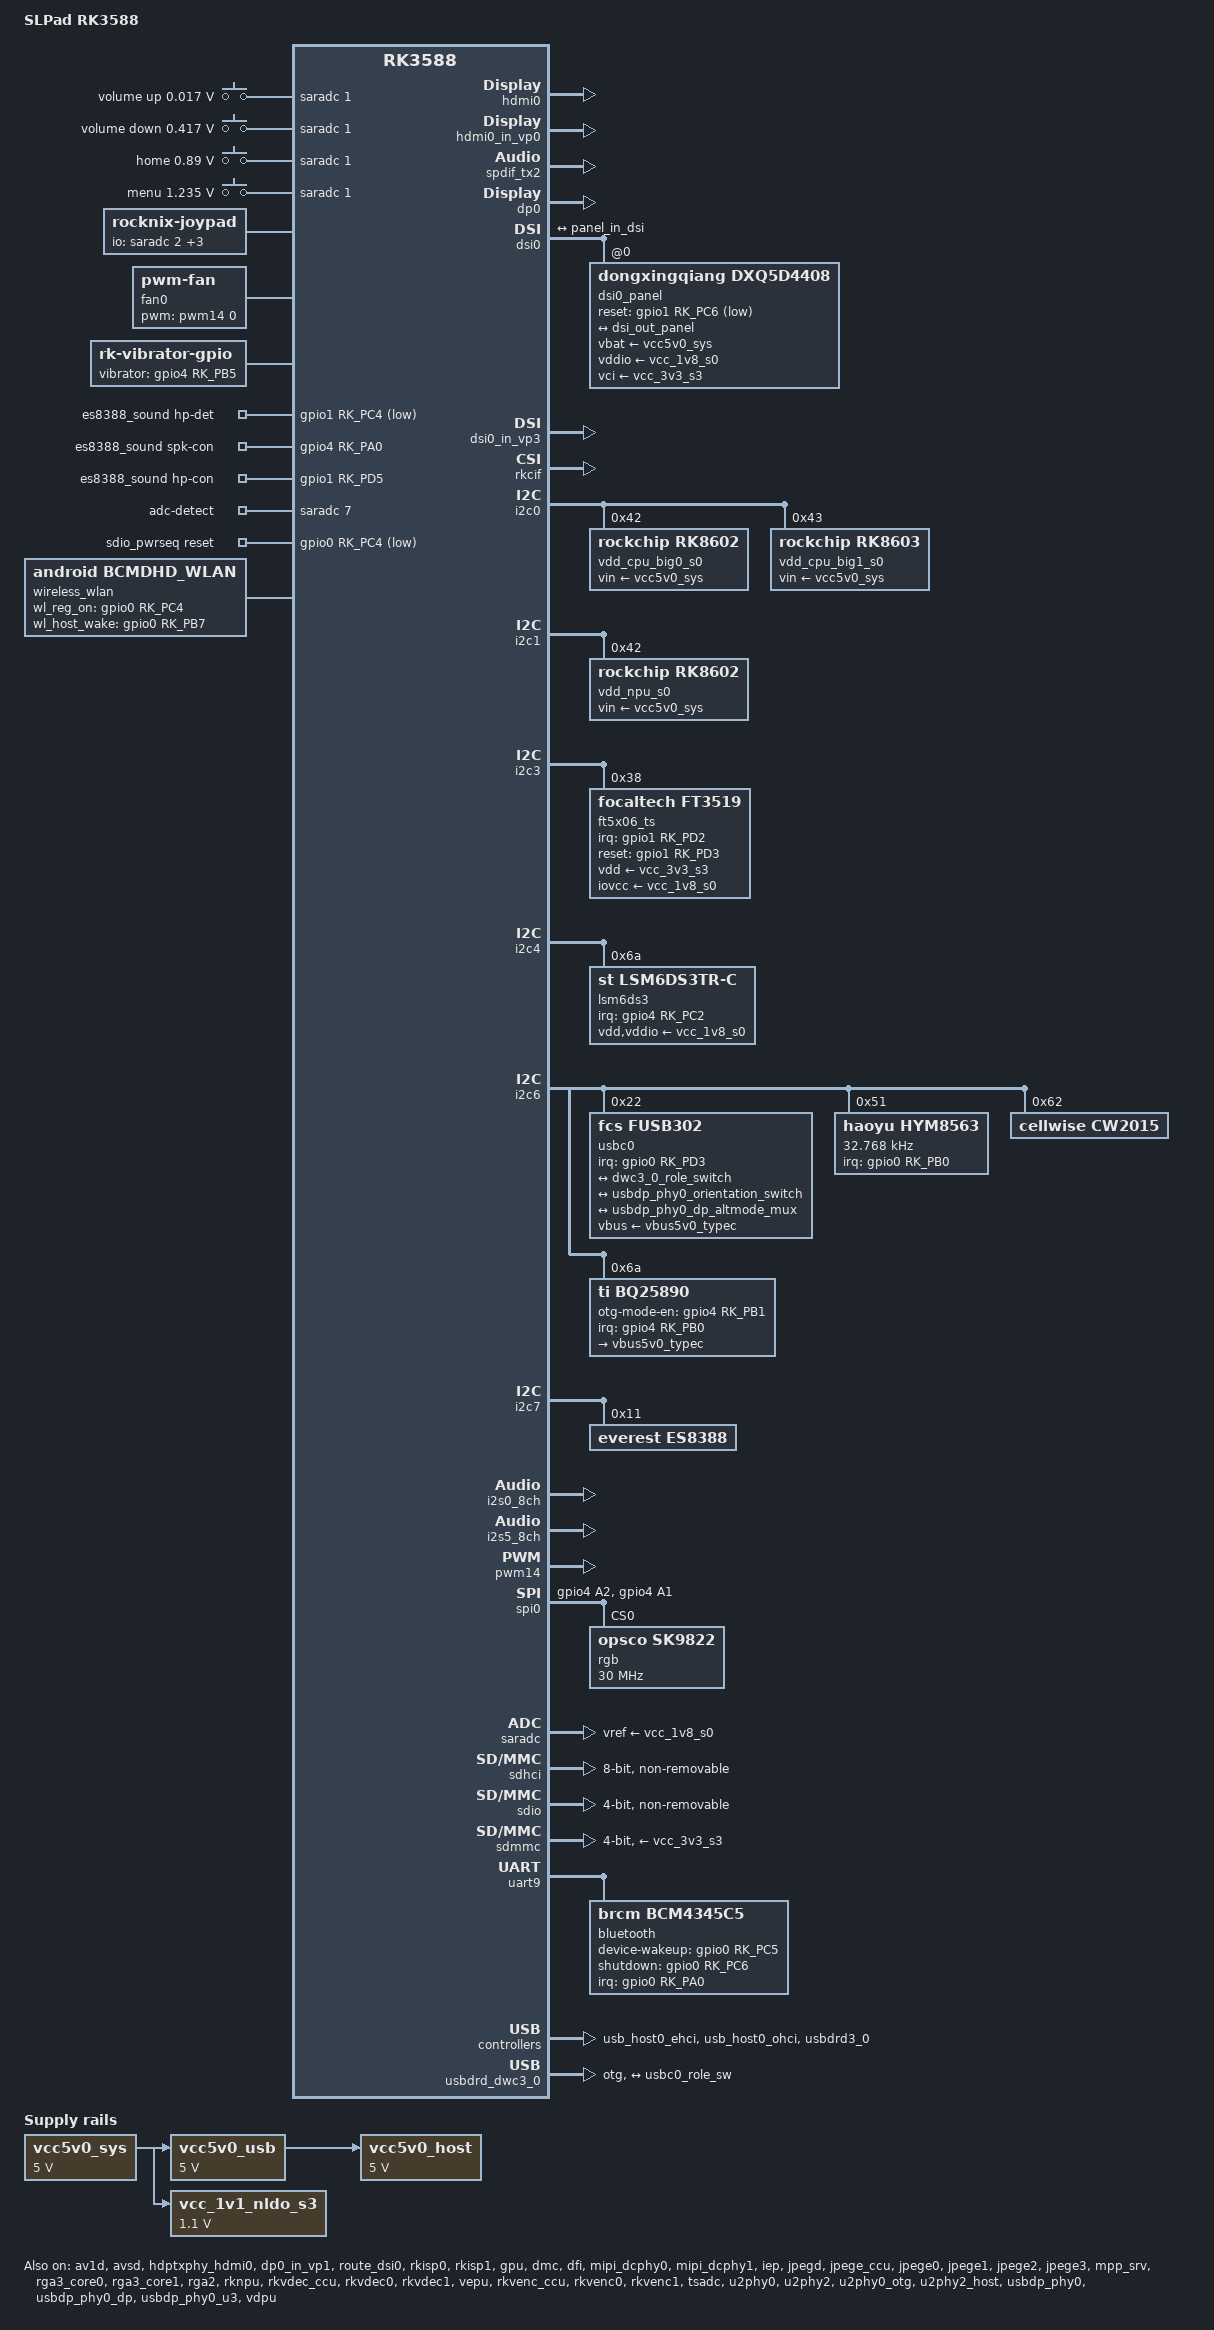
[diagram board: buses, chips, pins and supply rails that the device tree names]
// SPDX-License-Identifier: (GPL-2.0+ OR MIT)
/*
* Copyright (c) 2021 Rockchip Electronics Co., Ltd.
* Copyright (c) 2024-present ROCKNIX (https://github.com/ROCKNIX)
*
*/

/dts-v1/;

#include <dt-bindings/usb/pd.h>
#include <dt-bindings/gpio/gpio.h>
#include <dt-bindings/pwm/pwm.h>
#include <dt-bindings/pinctrl/rockchip.h>
#include <dt-bindings/input/rk-input.h>
#include <dt-bindings/display/drm_mipi_dsi.h>
#include <dt-bindings/display/rockchip_vop.h>
#include <dt-bindings/sensor-dev.h>
#include "rk3588.dtsi"
#include "rk3588-linux.dtsi"
#include "rk3588-rk806-single.dtsi"

/ {
	model = "SLPad RK3588";
	compatible = "slpad,switch", "rockchip,rk3588";
	
	/delete-node/ chosen;
	
	adc_keys: adc-keys {
		compatible = "adc-keys";
		io-channels = <&saradc 1>;
		io-channel-names = "buttons";
		keyup-threshold-microvolt = <1800000>;
		poll-interval = <100>;
		
		vol-up-key {
			label = "volume up";
			linux,code = <KEY_VOLUMEUP>;
			press-threshold-microvolt = <17000>;
		};
		
		vol-down-key {
			label = "volume down";
			linux,code = <KEY_VOLUMEDOWN>;
			press-threshold-microvolt = <417000>;
		};
		
		home-key {
			label = "home";
			linux,code = <KEY_HOMEPAGE>;
			press-threshold-microvolt = <890000>;
		};
		
		menu-key {
			label = "menu";
			linux,code = <KEY_APPSELECT>;
			press-threshold-microvolt = <1235000>;
		};
	};
	
	charge-animation {
		compatible = "rockchip,uboot-charge";
		rockchip,uboot-charge-on = <1>;
		rockchip,android-charge-on = <0>;
		rockchip,uboot-low-power-voltage = <3300>;
		rockchip,screen-on-voltage = <3400>;
		rockchip,uboot-exit-charge-level = <2>;
		rockchip,uboot-exit-charge-auto = <1>;
		rockchip,system-suspend = <1>;
		regulator-on-in-mem = <&vdd_log_s0>, <&vcc_2v0_pldo_s3>,
			<&vdd2_ddr_s3>, <&vcc_1v8_s3>, <&avcc_1v8_s0>,
			<&vdd_0v75_s3>, <&pldo6_s3>, <&vcc_3v3_s3>;

		regulator-off-in-mem = <&vdd_gpu_s0>, <&vdd_npu_s0>,
			<&vdd_vdenc_s0>, <&vdd_gpu_mem_s0>, <&vdd_npu_mem_s0>,
			<&vdd_vdenc_mem_s0>, <&vcc_1v8_s0>, <&vcc_3v3_s0>,
			<&vccio_sd_s0>, <&avdd_0v75_s0>, <&vdd_0v85_s0>,
			<&vdd_cpu_big1_s0>, <&vdd_cpu_big0_s0>, <&vdd_cpu_lit_s0>,
			<&vdd_cpu_big1_mem_s0>, <&vdd_cpu_big0_mem_s0>, <&vdd_cpu_lit_mem_s0>,
			<&vddq_ddr_s0>, <&vdd_ddr_s0>, <&vdd_ddr_pll_s0>,
			<&avdd_1v2_s0>, <&vdd_0v75_s0>;
		status = "okay";
	};
	
	joypad: slpad-joypad {
		compatible = "rocknix-joypad";
		poll-interval = <10>;
		status = "okay";
		
		joypad-name = "Microsoft X-Box 360 pad";
		joypad-vendor = <0x045e>;
		joypad-product = <0x028e>;
		joypad-revision = <0x0503>;
		
		/* Analog sticks */
		io-channels = <&saradc 2>, <&saradc 3>, <&saradc 4>, <&saradc 5>;
		io-channel-names = "key-X", "key-Y", "key-RX", "key-RY";
		button-adc-scale = <4>;
		button-adc-deadzone = <150>;
		button-adc-fuzz = <32>;
		button-adc-flat = <32>;
		abs_x-p-tuning = <350>;
		abs_x-n-tuning = <350>;
		abs_y-p-tuning = <350>;
		abs_y-n-tuning = <350>;
		abs_rx-p-tuning = <350>;
		abs_rx-n-tuning = <350>;
		abs_ry-p-tuning = <350>;
		abs_ry-n-tuning = <350>;
		invert-absx;
		invert-absy;
		
		/* gpio pincontrol setup */
		pinctrl-names = "default";
		pinctrl-0 = <&btn_pins>;
		
		/* gpio button auto repeat set value : default disable */
		/*
		autorepeat;
		*/
		
		/*
		*** SLPad switch layout ***
		|-------------------------------------------------------|
		| sw15(b4) sw21(b6)                   sw20(b7) sw16(b5) |
		|-------------------------------------------------------|
		|        sw19(b12)|-------------------| sw22(b13)       |
		|                 |                   |                 |
		|     sw1(b8)     |                   |     sw8(b2)     |
		|sw3(b10) sw4(b11)|   OLED Display    | sw7(b3) sw5(b1) |
		|     sw2(b9)     |                   |     sw6(b0)     |
		|    sw11(b14)    |                   |    sw12(b15)    |
		|  menu(sys)      |-------------------|      home(sys)  |
		|                                                       |
		|-------------------------------------------------------|
		*/
		
		sw1 {
			gpios = <&gpio3 RK_PB0 GPIO_ACTIVE_LOW>;
			label = "GPIO DPAD-UP";
			linux,code = <ABS_HAT0Y>;
			linux,input-type = <EV_ABS>;
			linux,input-value = <0xffffffff>; /* -1 */
		};
		sw2 {
			gpios = <&gpio3 RK_PB1 GPIO_ACTIVE_LOW>;
			label = "GPIO DPAD-DOWN";
			linux,code = <ABS_HAT0Y>;
			linux,input-type = <EV_ABS>;
			linux,input-value= <1>;
		};
		sw3 {
			gpios = <&gpio3 RK_PB2 GPIO_ACTIVE_LOW>;
			label = "GPIO DPAD-LEFT";
			linux,code = <ABS_HAT0X>;
			linux,input-type = <EV_ABS>;
			linux,input-value = <0xffffffff>; /* -1 */
		};
		sw4 {
			gpios = <&gpio3 RK_PB3 GPIO_ACTIVE_LOW>;
			label = "GPIO DPAD-RIGHT";
			linux,code = <ABS_HAT0X>;
			linux,input-type = <EV_ABS>;
			linux,input-value= <1>;
		};
		sw5 {
			gpios = <&gpio3 RK_PA1 GPIO_ACTIVE_LOW>;
			label = "GPIO KEY BTN-A";
			linux,code = <BTN_SOUTH>;
		};
		sw6 {
			gpios = <&gpio3 RK_PA0 GPIO_ACTIVE_LOW>;
			label = "GPIO BTN-B";
			linux,code = <BTN_EAST>;
		};
		sw7 {
			gpios = <&gpio3 RK_PA2 GPIO_ACTIVE_LOW>;
			label = "GPIO BTN-Y";
			linux,code = <BTN_WEST>;
		};
		sw8 {
			gpios = <&gpio3 RK_PA3 GPIO_ACTIVE_LOW>;
			label = "GPIO BTN-X";
			linux,code = <BTN_NORTH>;
		};
		sw11 {
			gpios = <&gpio3 RK_PA6 GPIO_ACTIVE_HIGH>;
			label = "GPIO BTN-THUMBR";
			linux,code = <BTN_THUMBR>;
		};
		sw12 {
			gpios = <&gpio3 RK_PB6 GPIO_ACTIVE_HIGH>;
			label = "GPIO BTN-THUMBL";
			linux,code = <BTN_THUMBL>;
		};
		sw15 {
			gpios = <&gpio3 RK_PB4 GPIO_ACTIVE_LOW>;
			label = "GPIO BTN-L";
			linux,code = <BTN_TL>;
		};
		sw16 {
			gpios = <&gpio3 RK_PA4 GPIO_ACTIVE_LOW>;
			label = "GPIO BTN-R";
			linux,code = <BTN_TR>;
		};
		sw19 {
			gpios = <&gpio3 RK_PB7 GPIO_ACTIVE_LOW>;
			label = "GPIO BTN-SELECT";
			linux,code = <BTN_SELECT>;
		};
		sw20 {
			gpios = <&gpio3 RK_PA5 GPIO_ACTIVE_LOW>;
			label = "GPIO BTN-ZR";
			linux,code = <ABS_RZ>;
			linux,input-type = <EV_ABS>;
			linux,input-value= <255>;
		};
		sw21 {
			gpios = <&gpio3 RK_PB5 GPIO_ACTIVE_LOW>;
			label = "GPIO BTN-ZL";
			linux,code = <ABS_Z>;
			linux,input-type = <EV_ABS>;
			linux,input-value= <255>;
		};
		sw22 {
			gpios = <&gpio3 RK_PA7 GPIO_ACTIVE_LOW>;
			label = "GPIO BTN-START";
			linux,code = <BTN_START>;
		};
	};
	
	fan0: pwm-fan {
		compatible = "pwm-fan";
		#cooling-cells = <2>;
		cooling-levels = <15 55 72 94 117 139 162 184 207 229 255>;
		rockchip,temp-trips = <
		30000	1
		45000	2
		50000	3
		65000	4
		70000	5
		>;
		pwms = <&pwm14 0 10000 0>;
	};
	
	vibrator {
		compatible = "rk-vibrator-gpio";
		vibrator-gpio = <&gpio4 RK_PB5 GPIO_ACTIVE_HIGH>;
		status = "okay";
	};
	
	hdmi0_sound: hdmi0-sound {
		status = "okay";
		compatible = "rockchip,hdmi";
		rockchip,mclk-fs = <128>;
		rockchip,card-name = "rockchip-hdmi0";
		rockchip,cpu = <&i2s5_8ch>;
		rockchip,codec = <&hdmi0>;
		rockchip,jack-det;
	};
	
	dp0_sound: dp0-sound {
		status = "okay";
		compatible = "rockchip,hdmi";
		rockchip,card-name= "rockchip-dp0";
		rockchip,mclk-fs = <512>;
		rockchip,cpu = <&spdif_tx2>;
		rockchip,codec = <&dp0 1>;
		rockchip,jack-det;
	};
	
	es8388_sound: es8388-sound {
		status = "okay";
		compatible = "rockchip,multicodecs-card","everest,es8388";
		rockchip,card-name = "rockchip,es8388-codec";
		hp-det-gpio = <&gpio1 RK_PC4 GPIO_ACTIVE_LOW>;
		io-channels = <&saradc 7>;
		io-channel-names = "adc-detect";
		keyup-threshold-microvolt = <1800000>;
		poll-interval = <100>;
		spk-con-gpio = <&gpio4 RK_PA0 GPIO_ACTIVE_HIGH>;
		hp-con-gpio = <&gpio1 RK_PD5 GPIO_ACTIVE_HIGH>;
		rockchip,format = "i2s";
		rockchip,mclk-fs = <256>;
		rockchip,cpu = <&i2s0_8ch>;
		rockchip,codec = <&es8388>;
		rockchip,aw8733-mode = <3>;
		
		rockchip,audio-routing =
		"Headphone", "LOUT1",
		"Headphone", "ROUT1",
		"Speaker", "LOUT2",
		"Speaker", "ROUT2",
		"Headphone", "Headphone Power",
		"Headphone", "Headphone Power",
		"Speaker", "Speaker Power",
		"Speaker", "Speaker Power",
		"LINPUT1", "Main Mic",
		"LINPUT2", "Main Mic",
		"RINPUT1", "Headset Mic",
		"RINPUT2", "Headset Mic";
		
		pinctrl-names = "default";
		pinctrl-0 = <&hp_det>;
		play-pause-key {
			label = "playpause";
			linux,code = <KEY_PLAYPAUSE>;
			press-threshold-microvolt = <2000>;
		};
	};
	
	
	sdio_pwrseq: sdio-pwrseq {
		compatible = "mmc-pwrseq-simple";
		clocks = <&hym8563>;
		clock-names = "ext_clock";
		pinctrl-names = "default";
		pinctrl-0 = <&wifi_enable_h>;
		post-power-on-delay-ms = <200>;
		reset-gpios = <&gpio0 RK_PC4 GPIO_ACTIVE_LOW>;
	};
	
	
	vcc5v0_sys: vcc5v0-sys {
		compatible = "regulator-fixed";
		regulator-name = "vcc5v0_sys";
		regulator-always-on;
		regulator-boot-on;
		regulator-min-microvolt = <5000000>;
		regulator-max-microvolt = <5000000>;
	};
	
	vcc5v0_usb: vcc5v0-usb {
		compatible = "regulator-fixed";
		regulator-name = "vcc5v0_usb";
		regulator-always-on;
		regulator-boot-on;
		regulator-min-microvolt = <5000000>;
		regulator-max-microvolt = <5000000>;
		enable-active-high;
		vin-supply = <&vcc5v0_sys>;
	};
	
	vcc_1v1_nldo_s3: vcc-1v1-nldo-s3 {
		compatible = "regulator-fixed";
		regulator-name = "vcc_1v1_nldo_s3";
		regulator-always-on;
		regulator-boot-on;
		regulator-min-microvolt = <1100000>;
		regulator-max-microvolt = <1100000>;
		vin-supply = <&vcc5v0_sys>;
	};
	
	vcc5v0_host: vcc5v0-host {
		compatible = "regulator-fixed";
		regulator-name = "vcc5v0_host";
		regulator-boot-on;
		regulator-always-on;
		regulator-min-microvolt = <5000000>;
		regulator-max-microvolt = <5000000>;
		enable-active-high;
		vin-supply = <&vcc5v0_usb>;
	};

	// vbus5v0_typec: vcc5v0-typec-regulator {
	// 	compatible = "regulator-fixed";
	// 	regulator-name = "vcc5v0_typec";
	// 	regulator-boot-on;
	// 	regulator-always-on;
	// 	regulator-min-microvolt = <5000000>;
	// 	regulator-max-microvolt = <5000000>;
	// 	enable-active-high;
	// 	gpio = <&gpio4 RK_PB1 GPIO_ACTIVE_HIGH>;
	// 	pinctrl-names = "default";
	// 	pinctrl-0 = <&vcc5v0_otg_en>;
	// 	vin-supply = <&vcc5v0_sys>;
	// };

	wireless_wlan: wireless-wlan {
		compatible = "android,bcmdhd_wlan";
		pinctrl-names = "default";
		pinctrl-0 = <&wifi_host_wake_irq>, <&wifi_poweren_gpio>;
		gpio_wl_reg_on = <&gpio0 RK_PC4 GPIO_ACTIVE_HIGH>;
		gpio_wl_host_wake = <&gpio0 RK_PB7 GPIO_ACTIVE_HIGH>;
		status = "okay";
	};
};

&av1d {
	status = "okay";
};

&av1d_mmu {
	status = "okay";
};

&combphy0_ps {
	status = "disabled";
};

&avsd {
	status = "okay";
};

&cpu_l0 {
	cpu-supply = <&vdd_cpu_lit_s0>;
	mem-supply = <&vdd_cpu_lit_mem_s0>;
};

&cpu_b0 {
	cpu-supply = <&vdd_cpu_big0_s0>;
	mem-supply = <&vdd_cpu_big0_mem_s0>;
};

&cpu_b2 {
	cpu-supply = <&vdd_cpu_big1_s0>;
	mem-supply = <&vdd_cpu_big1_mem_s0>;
};

&hdmi0 {
	status = "okay";
};

&hdmi0_in_vp0 {
	status = "okay";
};

&hdmi0_sound {
	status = "okay";
};

&hdptxphy_hdmi0 {
	status = "okay";
};

&route_hdmi0 {
	status = "disabled";
	connect = <&vp0_out_hdmi0>;
};

&spdif_tx2{
	status = "okay";
};

&dp0_sound{
	status = "okay";
};

&dp0 {
	status = "okay";
};

&dp0_in_vp1 {
	status = "okay";
};

&dsi0 {
	status = "okay";
	dsi0_panel: panel@0 {
		status = "okay";
		compatible = "dongxingqiang,dxq5d4408";
		reg = <0>;
		width-mm = <68>;
		height-mm = <121>;
		rotation = <90>;

		ports {
			#address-cells = <1>;
			#size-cells = <0>;
			
			port@0 {
				reg = <0>;
				panel_in_dsi: endpoint {
					remote-endpoint = <&dsi_out_panel>;
				};
			};
		};
	};
	
	ports {
		#address-cells = <1>;
		#size-cells = <0>;
		
		port@1 {
			reg = <1>;
			dsi_out_panel: endpoint {
				remote-endpoint = <&panel_in_dsi>;
			};
		};
	};
	
};

&dsi0_in_vp3 {
	status = "okay";
};

&route_dsi0 {
	status = "okay";
};

&dsi0_panel {
	vbat-supply = <&vcc5v0_sys>;
	vddio-supply = <&vcc_1v8_s0>;
	vci-supply = <&vcc_3v3_s3>;
	reset-gpios = <&gpio1 RK_PC6 GPIO_ACTIVE_LOW>;
	pinctrl-names = "default";
	pinctrl-0 = <&lcd_rst_gpio>;
};

&pcie2x1l1 {
	status = "disabled";
};

&combphy2_psu {
	status = "disabled";
};

&csi2_dphy0_hw {
	status = "disabled";
};

&csi2_dcphy0 {
	status = "disabled";
};

&mipi0_csi2 {
	status = "disabled";
};

&rkcif_mipi_lvds {
	status = "disabled";
};

&rkcif_mipi_lvds_sditf {
	status = "disabled";
};

&rkisp0_vir0 {
	status = "disabled";
};

&csi2_dcphy1 {
	status = "disabled";
};

&mipi1_csi2{
	status = "disabled";
};

&rkcif_mipi_lvds1 {
	status = "disabled";
};

&rkcif_mipi_lvds1_sditf {
	status = "disabled";
};


&rkisp0_vir1 {
	status = "disabled";
};

&csi2_dphy0 {
	status = "disabled";
};

&mipi2_csi2 {
	status = "disabled";
};

&rkcif_mipi_lvds2 {
	status = "disabled";
};

&rkcif_mipi_lvds2_sditf {
	status = "disabled";
};

&rkisp1_vir1 {
	status = "disabled";
};

&rkcif {
	status = "okay";
};

&rkcif_mmu {
	status = "okay";
};

&rkisp0 {
	status = "okay";
};

&rkisp1 {
	status = "okay";
};

&isp0_mmu {
	status = "okay";
};

&isp1_mmu {
	status = "okay";
};

&dp0 {
	status = "okay";
	
};
&dp0_in_vp1 {
	status = "okay";
};

&gpu {
	mali-supply = <&vdd_gpu_s0>;
	mem-supply = <&vdd_gpu_mem_s0>;
	upthreshold = <60>;
	downdifferential = <30>;
	status = "okay";
};

&dmc {
	center-supply = <&vdd_ddr_s0>;
	mem-supply = <&vdd_log_s0>;
	status = "okay";
};

&dfi {
	status = "okay";
};

&i2c0 {
	status = "okay";
	pinctrl-names = "default";
	pinctrl-0 = <&i2c0m2_xfer>;
	
	vdd_cpu_big0_s0: vdd_cpu_big0_mem_s0: rk8602@42 {
		compatible = "rockchip,rk8602";
		reg = <0x42>;
		vin-supply = <&vcc5v0_sys>;
		regulator-compatible = "rk860x-reg";
		regulator-name = "vdd_cpu_big0_s0";
		regulator-min-microvolt = <550000>;
		regulator-max-microvolt = <1050000>;
		regulator-ramp-delay = <2300>;
		rockchip,suspend-voltage-selector = <1>;
		regulator-boot-on;
		regulator-always-on;
		regulator-state-mem {
			regulator-off-in-suspend;
		};
	};
	
	vdd_cpu_big1_s0: vdd_cpu_big1_mem_s0: rk8603@43 {
		compatible = "rockchip,rk8603";
		reg = <0x43>;
		vin-supply = <&vcc5v0_sys>;
		regulator-compatible = "rk860x-reg";
		regulator-name = "vdd_cpu_big1_s0";
		regulator-min-microvolt = <550000>;
		regulator-max-microvolt = <1050000>;
		regulator-ramp-delay = <2300>;
		rockchip,suspend-voltage-selector = <1>;
		regulator-boot-on;
		regulator-always-on;
		regulator-state-mem {
			regulator-off-in-suspend;
		};
	};
};

&i2c1 {
	status = "okay";
	pinctrl-names = "default";
	pinctrl-0 = <&i2c1m2_xfer>;
	
	vdd_npu_s0: vdd_npu_mem_s0: rk8602@42 {
		compatible = "rockchip,rk8602";
		reg = <0x42>;
		vin-supply = <&vcc5v0_sys>;
		regulator-compatible = "rk860x-reg";
		regulator-name = "vdd_npu_s0";
		regulator-min-microvolt = <550000>;
		regulator-max-microvolt = <950000>;
		regulator-ramp-delay = <2300>;
		rockchip,suspend-voltage-selector = <1>;
		regulator-boot-on;
		regulator-always-on;
		regulator-state-mem {
			regulator-off-in-suspend;
		};
	};
};

&i2c3 {
	status = "okay";
	
	/* Capacitive touch controller */
	ft5x06_ts: touchscreen@38 {
		compatible = "focaltech,ft3519";
		reg = <0x38>;
		pinctrl-names = "default";
		pinctrl-0 = <&tp_gpio>;
		interrupt-parent = <&gpio1>;
		interrupts = <RK_PD2 IRQ_TYPE_EDGE_FALLING>;

		focaltech,irq-gpio = <&gpio1 RK_PD2 IRQ_TYPE_EDGE_FALLING>;
		focaltech,reset-gpio = <&gpio1 RK_PD3 GPIO_ACTIVE_HIGH>;
		focaltech,max-touch-number = <6>;
		focaltech,display-coords = <0 0 1079 1919>;
		focaltech,touchscreen-inverted-x;
		focaltech,touchscreen-inverted-y;
		vdd-supply = <&vcc_3v3_s3>;
		iovcc-supply = <&vcc_1v8_s0>;
	};
};

&i2c4 {
	status = "okay";
	pinctrl-names = "default";
	pinctrl-0 = <&i2c4m1_xfer>;
	
	lsm6ds3@6a {
		compatible = "st,lsm6ds3tr-c";
		status = "okay";
		reg = <0x6a>;
		interrupt-parent = <&gpio4>;
		interrupts = <RK_PC2 IRQ_TYPE_LEVEL_HIGH>;
		pinctrl-names = "default";
		pinctrl-0 = <&gyr_int_l>;
		vdd-supply = <&vcc_1v8_s0>;
		vddio-supply = <&vcc_1v8_s0>;
		st,drdy-int-pin = <1>;
		st,module_id = <5>;
	};
};

&i2c6 {
	status = "okay";
	
	usbc0: fusb302@22 {
		compatible = "fcs,fusb302";
		reg = <0x22>;
		interrupt-parent = <&gpio0>;
		interrupts = <RK_PD3 IRQ_TYPE_LEVEL_LOW>;
		pinctrl-names = "default";
		pinctrl-0 = <&usbc0_int>;
		vbus-supply = <&vbus5v0_typec>;
		charge-dev = <&bq25890>;
		status = "okay";
		ports {
			#address-cells = <1>;
			#size-cells = <0>;
			port@0 {
				reg = <0>;
				usbc0_role_sw: endpoint@0 {
					remote-endpoint = <&dwc3_0_role_switch>;
				};
			};
		};
		
		usb_con: connector {
			compatible = "usb-c-connector";
			label = "USB-C";
			data-role = "dual";
			power-role = "dual";
			try-power-role = "sink";
			op-sink-microwatt = <1000000>;
			sink-pdos =
			<PDO_FIXED(5000, 3000, PDO_FIXED_USB_COMM)
			PDO_FIXED(9000, 3000, PDO_FIXED_USB_COMM)
			PDO_FIXED(12000, 3000, PDO_FIXED_USB_COMM)>;
			source-pdos =
			<PDO_FIXED(5000, 3000, PDO_FIXED_USB_COMM)>;
			altmodes {
				#address-cells = <1>;
				#size-cells = <0>;
				
				altmode@0 {
					reg = <0>;
					svid = <0xff01>;
					vdo = <0xffffffff>;
				};
			};
			
			ports {
				#address-cells = <1>;
				#size-cells = <0>;
				port@0 {
					reg = <0>;
					usbc0_orien_sw: endpoint {
						remote-endpoint = <&usbdp_phy0_orientation_switch>;
					};
				};
				port@1 {
					reg = <1>;
					dp_altmode_mux: endpoint {
						remote-endpoint = <&usbdp_phy0_dp_altmode_mux>;
					};
				};
			};
		};
	};
	
	hym8563: hym8563@51 {
		compatible = "haoyu,hym8563";
		reg = <0x51>;
		#clock-cells = <0>;
		clock-frequency = <32768>;
		clock-output-names = "hym8563";
		pinctrl-names = "default";
		pinctrl-0 = <&rtc_int>;
		interrupt-parent = <&gpio0>;
		interrupts = <RK_PB0 IRQ_TYPE_LEVEL_LOW>;
		wakeup-source;
	};
	
	cw2015@62 {
		status = "okay";
		compatible = "cellwise,cw2015";
		reg = <0x62>;
		
		cellwise,battery-profile = /bits/ 8
		<0x18 0x0A 0x68 0x68 0x6B 0x6B 0x69 0x67
		0x63 0x61 0x5E 0x61 0x5E 0x53 0x46 0x3F
		0x36 0x30 0x29 0x26 0x2C 0x37 0x44 0x4E
		0x1E 0x6F 0x0A 0x3E 0x18 0x31 0x52 0x60
		0x6F 0x6E 0x6E 0x70 0x3E 0x1B 0x6E 0x5F
		0x0B 0x2F 0x21 0x4F 0x89 0x92 0x96 0x1B
		0x49 0x69 0x9D 0xBC 0x80 0x5C 0x7F 0xCB
		0x2F 0x00 0x64 0xA5 0xB5 0xC1 0x46 0xAE>;
		cellwise,dual-cell = <1>;
		cellwise,monitor-interval-ms = <5000>;
		power-supplies = <&bq25890>;
	};
	
	bq25890: charger@6a {
		status = "okay";
		compatible = "ti,bq25890";
		reg = <0x6a>;
		pinctrl-names = "default";
		pinctrl-0 = <&charger_ok>;
		interrupt-parent = <&gpio4>;
		interrupts = <RK_PB0 IRQ_TYPE_EDGE_FALLING>;
		otg-mode-en-gpios = <&gpio4 RK_PB1 GPIO_ACTIVE_HIGH>;
		ti,usb-charger-detection = <&usbc0>;
		
		ti,battery-regulation-voltage = <4400000>; /* 4.4V */
		ti,charge-current = <5000000>; /* 5A */
		ti,termination-current = <66000>;  /* 66mA */
		ti,precharge-current = <130000>; /* 130mA */
		ti,minimum-sys-voltage = <3800000>; /* 3.8V */
		ti,boost-voltage = <5000000>; /* 5V */
		ti,boost-max-current = <2000000>; /* 2000mA */
		regulators {
			vbus5v0_typec: vbus5v0-typec {
				regulator-compatible = "usb-otg-vbus";
				regulator-name = "vbus5v0_typec";
			};
		};
	};
};

&i2c7 {
	status = "okay";
	es8388: es8388@11 {
		status = "okay";
		#sound-dai-cells = <0>;
		compatible = "everest,es8388", "everest,es8323";
		reg = <0x11>;
		clocks = <&mclkout_i2s0>;
		clock-names = "mclk";
		assigned-clocks = <&mclkout_i2s0>;
		assigned-clock-rates = <12288000>;
		pinctrl-names = "default";
		pinctrl-0 = <&i2s0_mclk>;
	};
};

&i2s0_8ch {
	status = "okay";
	pinctrl-0 = <&i2s0_lrck
	&i2s0_sclk
	&i2s0_sdi0
	&i2s0_sdo0>;
};

&i2s5_8ch {
	status = "okay";
};

&mipi_dcphy0 {
	status = "okay";
};

&mipi_dcphy1 {
	status = "okay";
};

&iep {
	status = "okay";
};

&iep_mmu {
	status = "okay";
};

&jpegd {
	status = "okay";
};

&jpegd_mmu {
	status = "okay";
};

&jpege_ccu {
	status = "okay";
};

&jpege0 {
	status = "okay";
};

&jpege0_mmu {
	status = "okay";
};

&jpege1 {
	status = "okay";
};

&jpege1_mmu {
	status = "okay";
};

&jpege2 {
	status = "okay";
};

&jpege2_mmu {
	status = "okay";
};

&jpege3 {
	status = "okay";
};

&jpege3_mmu {
	status = "okay";
};

&sata0 {
	status = "disabled";
};

&sata2 {
	status = "disabled";
};

&mpp_srv {
	status = "okay";
};

&pdm0 {
	rockchip,path-map = <2 0 1 3>;
	status = "disabled";
};


&pinctrl {
	
	btns {
		btn_pins: btn-pins {
			rockchip,pins = <3 RK_PA0 RK_FUNC_GPIO &pcfg_pull_up>,
			<3 RK_PA1 RK_FUNC_GPIO &pcfg_pull_up>,
			<3 RK_PA2 RK_FUNC_GPIO &pcfg_pull_up>,
			<3 RK_PA3 RK_FUNC_GPIO &pcfg_pull_up>,
			<3 RK_PA4 RK_FUNC_GPIO &pcfg_pull_up>,
			<3 RK_PA5 RK_FUNC_GPIO &pcfg_pull_up>,
			<3 RK_PA6 RK_FUNC_GPIO &pcfg_pull_down>,
			<3 RK_PA7 RK_FUNC_GPIO &pcfg_pull_up>,
			<3 RK_PB0 RK_FUNC_GPIO &pcfg_pull_up>,
			<3 RK_PB1 RK_FUNC_GPIO &pcfg_pull_up>,
			<3 RK_PB2 RK_FUNC_GPIO &pcfg_pull_up>,
			<3 RK_PB3 RK_FUNC_GPIO &pcfg_pull_up>,
			<3 RK_PB4 RK_FUNC_GPIO &pcfg_pull_up>,
			<3 RK_PB5 RK_FUNC_GPIO &pcfg_pull_up>,
			<3 RK_PB6 RK_FUNC_GPIO &pcfg_pull_down>,
			<3 RK_PB7 RK_FUNC_GPIO &pcfg_pull_up>;
		};
	};
	
	charger {
		charger_ok: charger_ok {
			rockchip,pins = <4 RK_PB0 RK_FUNC_GPIO &pcfg_pull_up>;
		};
	};
	
	headphone {
		hp_det: hp-det {
			rockchip,pins = <1 RK_PC4 RK_FUNC_GPIO &pcfg_pull_up>;
		};
	};
	
	hym8563 {
		rtc_int: rtc-int {
			rockchip,pins = <0 RK_PB0 RK_FUNC_GPIO &pcfg_pull_up>;
		};
	};
	
	lcd_rst_gpio {
		lcd_rst_gpio: lcd-rst-gpio {
			rockchip,pins = <1 RK_PC6 RK_FUNC_GPIO &pcfg_pull_none>;
		};
	};
	
	lsm6ds3 {
		gyr_int_l: gyr-int-l {
			rockchip,pins = <4 RK_PC2 RK_FUNC_GPIO &pcfg_pull_none>;
		};
	};
	
	tp {
		tp_gpio: tp-gpio {
			rockchip,pins = <1 RK_PD2 RK_FUNC_GPIO &pcfg_pull_none>,
			<1 RK_PD3 RK_FUNC_GPIO &pcfg_pull_up>;
		};
	};
	
	usb-typec {
		usbc0_int: usbc0-int {
			rockchip,pins = <0 RK_PD3 RK_FUNC_GPIO &pcfg_pull_up>;
		};

		vcc5v0_otg_en: vcc5v0-otg-en {
			rockchip,pins = <4 RK_PB1 RK_FUNC_GPIO &pcfg_pull_none>;
		};
	};

	spi0 {
		spi0m1_pins: spi0m1-pins {
			rockchip,pins =
				/* spi0_clk_m1 */
				<4 RK_PA2 8 &pcfg_pull_up_drv_level_6>,
				/* spi0_mosi_m1 */
				<4 RK_PA1 8 &pcfg_pull_up_drv_level_6>;
		};
	};

	bt {
		bt_enable_h: bt-enable-h {
			rockchip,pins =
			<0 RK_PC6 RK_FUNC_GPIO &pcfg_pull_none>;
		};
		
		bt_host_wake_l: bt-host-wake-l {
			rockchip,pins =
			<0 RK_PA0 RK_FUNC_GPIO &pcfg_pull_down>;
		};
		
		bt_wake_l: bt-wake-l {
			rockchip,pins =
			<0 RK_PC5 RK_FUNC_GPIO &pcfg_pull_up>;
		};
	};
	
	wifi {
		wifi_enable_h: wifi-enable-h {
			rockchip,pins =
			<0 RK_PC4 RK_FUNC_GPIO &pcfg_pull_up>;
		};
	};
	wireless-wlan {
		wifi_host_wake_irq: wifi-host-wake-irq {
			rockchip,pins = <0 RK_PB7 RK_FUNC_GPIO &pcfg_pull_down>;
		};
		
		wifi_poweren_gpio: wifi-poweren-gpio {
			rockchip,pins = <0 RK_PC4 RK_FUNC_GPIO &pcfg_pull_up>;
		};
	};
};

&pwm14 {
	status = "okay";
	pinctrl-0 = <&pwm14m1_pins>;
};

&soc_thermal {
	polling-delay = <1000>;
	polling-delay-passive = <2000>;
	trips {
		trip0: trip-point@0 {
			temperature = <45000>;
			hysteresis = <5000>;
			type = "active";
		};
		trip1: trip-point@1 {
			temperature = <50000>;
			hysteresis = <5000>;
			type = "active";
		};
		trip2: trip-point@2 {
			temperature = <55000>;
			hysteresis = <5000>;
			type = "active";
		};
		trip3: trip-point@3 {
			temperature = <60000>;
			hysteresis = <5000>;
			type = "active";
		};
		trip4: trip-point@4 {
			temperature = <65000>;
			hysteresis = <5000>;
			type = "active";
		};
		trip5: trip-point@5 {
			temperature = <70000>;
			hysteresis = <5000>;
			type = "active";
		};
		trip6: trip-point@6 {
			temperature = <75000>;
			hysteresis = <5000>;
			type = "active";
		};
		pcritical: trip-point@7 {
			temperature = <80000>;
			hysteresis = <1000>;
			type = "active";
		};
	};
	cooling-maps {
		map0 {
			trip = <&trip0>;
			cooling-device = <&fan0 0 1>;
			contribution = <1024>;
		};
		map1 {
			trip = <&trip1>;
			cooling-device = <&fan0 1 2>;
			contribution = <1024>;
		};
		map2 {
			trip = <&trip2>;
			cooling-device = <&fan0 2 3>;
			contribution = <1024>;
		};
		map3 {
			trip = <&trip3>;
			cooling-device = <&fan0 3 4>;
			contribution = <1024>;
		};
		map4 {
			trip = <&trip4>;
			cooling-device = <&fan0 4 5>;
			contribution = <1024>;
		};
		map5 {
			trip = <&trip5>;
			cooling-device = <&fan0 5 6>;
			contribution = <1024>;
		};
		map6 {
			trip = <&trip6>;
			cooling-device = <&fan0 6 7>;
			contribution = <1024>;
		};
		map7 {
			trip = <&pcritical>;
			cooling-device = <&fan0 7 8>;
			contribution = <1024>;
		};
	};
};

&spi0 {
	status = "okay";
	pinctrl-names = "default";
	pinctrl-0 = <&spi0m1_pins>;
	
	rgb@0 {
		compatible = "opsco,sk9822";
		status = "okay";
		reg = <0>;
		spi-max-frequency = <30000000>;
		#address-cells = <1>;
		#size-cells = <0>;
		led@0 {
			reg = <0>;
			label = "led1";
		};
	};
};

&rga3_core0 {
	status = "okay";
};

&rga3_0_mmu {
	status = "okay";
};

&rga3_core1 {
	status = "okay";
};

&rga3_1_mmu {
	status = "okay";
};

&rga2 {
	status = "okay";
};

&rknpu {
	rknpu-supply = <&vdd_npu_s0>;
	mem-supply = <&vdd_npu_mem_s0>;
	status = "okay";
};

&rknpu_mmu {
	status = "okay";
};

&rkvdec_ccu {
	status = "okay";
};

&rkvdec0 {
	status = "okay";
};

&rkvdec0_mmu {
	status = "okay";
};

&rkvdec1 {
	status = "okay";
};

&rkvdec1_mmu {
	status = "okay";
};

&vepu {
	status = "okay";
};

&rkvenc_ccu {
	status = "okay";
};

&rkvenc0 {
	venc-supply = <&vdd_vdenc_s0>;
	mem-supply = <&vdd_vdenc_mem_s0>;
	status = "okay";
};

&rkvenc0_mmu {
	status = "okay";
};

&rkvenc1 {
	venc-supply = <&vdd_vdenc_s0>;
	mem-supply = <&vdd_vdenc_mem_s0>;
	status = "okay";
};

&rkvenc1_mmu {
	status = "okay";
};

&rockchip_suspend {
	status = "okay";
	rockchip,sleep-debug-en = <1>;
	rockchip,sleep-mode-config = <
		(0
		| RKPM_SLP_ARMOFF_LOGOFF
		| RKPM_SLP_PMU_PMUALIVE_32K
		| RKPM_SLP_PMU_DIS_OSC
		| RKPM_SLP_32K_EXT
		)
	>;
	rockchip,wakeup-config = <
		(0
		| RKPM_GPIO_WKUP_EN
		)
	>;
};

&saradc {
	status = "okay";
	vref-supply = <&vcc_1v8_s0>;
};

&sdhci {
	bus-width = <8>;
	no-sdio;
	no-sd;
	non-removable;
	max-frequency = <200000000>;
	mmc-hs400-1_8v;
	mmc-hs400-enhanced-strobe;
	status = "okay";
};

&sdio {
	#address-cells = <1>;
	#size-cells = <0>;
	max-frequency = <150000000>;
	no-sd;
	no-mmc;
	bus-width = <4>;
	disable-wp;
	cap-sd-highspeed;
	cap-sdio-irq;
	keep-power-in-suspend;
	mmc-pwrseq = <&sdio_pwrseq>;
	non-removable;
	pinctrl-names = "default";
	pinctrl-0 = <&sdiom0_pins>;
	sd-uhs-sdr104;
	status = "okay";

	// brcmf: wifi@1 {
	// 	compatible = "brcm,bcm4329-fmac";
	// 	reg = <1>;
	// 	/* vendor=0x02d0 product=0xaae7 chip=0xaae8 rev=2 socitype=1 */
	// 	interrupt-parent = <&gpio0>;
	// 	interrupts = <RK_PB7 IRQ_TYPE_LEVEL_HIGH>;
	// 	interrupt-names = "host-wake";
	// 	pinctrl-names = "default";
	// 	pinctrl-0 = <&wifi_host_wake_irq>;
	// };
};

&sdmmc {
	max-frequency = <200000000>;
	no-sdio;
	no-mmc;
	bus-width = <4>;
	cap-mmc-highspeed;
	cap-sd-highspeed;
	disable-wp;
	sd-uhs-sdr104;
	supports-emmc;
	vmmc-supply = <&vcc_3v3_s3>;
	vqmmc-supply = <&vccio_sd_s0>;
	pinctrl-names = "default";
	pinctrl-0 = <&sdmmc_bus4 &sdmmc_clk &sdmmc_cmd &sdmmc_det>;
	status = "okay";
};

&tsadc {
	status = "okay";
};

&uart9 {
	pinctrl-0 = <&uart9m0_xfer>, <&uart9m0_ctsn>, <&uart9m0_rtsn>;
	uart-has-rtscts;
	status = "okay";
	
	bluetooth {
		compatible = "brcm,bcm4345c5";
		max-speed = <1500000>;
		clocks = <&hym8563>;
		clock-names = "lpo";
		device-wakeup-gpios = <&gpio0 RK_PC5 GPIO_ACTIVE_HIGH>;
		interrupt-parent = <&gpio0>;
		interrupts = <RK_PA0 IRQ_TYPE_EDGE_FALLING>;
		pinctrl-0 = <&bt_enable_h>, <&bt_host_wake_l>, <&bt_wake_l>;
		pinctrl-names = "default";
		shutdown-gpios = <&gpio0 RK_PC6 GPIO_ACTIVE_HIGH>;
	};
};

&u2phy0 {
	status = "okay";
};

&u2phy2 {
	status = "okay";
};

&u2phy0_otg {
	rockchip,typec-vbus-det;
	status = "okay";
};


&u2phy2_host {
	status = "okay";
	phy-supply = <&vcc5v0_host>;
};

&usb_host0_ehci {
	status = "okay";
};

&usb_host0_ohci {
	status = "okay";
};

&usbdp_phy0 {
	orientation-switch;
	svid = <0xff01>;
	sbu1-dc-gpios = <&gpio4 RK_PA6 GPIO_ACTIVE_HIGH>;
	sbu2-dc-gpios = <&gpio4 RK_PA7 GPIO_ACTIVE_HIGH>;
	status = "okay";
	port {
		#address-cells = <1>;
		#size-cells = <0>;
		usbdp_phy0_orientation_switch: endpoint@0 {
			reg = <0>;
			remote-endpoint = <&usbc0_orien_sw>;
		};
		
		usbdp_phy0_dp_altmode_mux: endpoint@1 {
			reg = <1>;
			remote-endpoint = <&dp_altmode_mux>;
		};
	};
};

&usbdp_phy0_dp {
	status = "okay";
};

&usbdp_phy0_u3 {
	status = "okay";
};

&usbdrd3_0 {
	status = "okay";
};

&usbdrd_dwc3_0 {
	dr_mode = "otg";
	status = "okay";
	
	usb-role-switch;
	port {
		#address-cells = <1>;
		#size-cells = <0>;
		dwc3_0_role_switch: endpoint@0 {
			reg = <0>;
			remote-endpoint = <&usbc0_role_sw>;
		};
	};
};

&usbhost3_0 {
	status = "disabled";
};

&usbhost_dwc3_0 {
	status = "disabled";
};

&vdpu {
	status = "okay";
};

&vdpu_mmu {
	status = "okay";
};

&vop {
	status = "okay";
};

&vop_mmu {
	status = "okay";
};

&vp0 {
	rockchip,plane-mask = <(1 << ROCKCHIP_VOP2_CLUSTER0 | 1 << ROCKCHIP_VOP2_ESMART0)>;
	rockchip,primary-plane = <ROCKCHIP_VOP2_ESMART0>;
};

&vp1 {
	rockchip,plane-mask = <(1 << ROCKCHIP_VOP2_CLUSTER1 | 1 << ROCKCHIP_VOP2_ESMART1)>;
	rockchip,primary-plane = <ROCKCHIP_VOP2_ESMART1>;
};

&vp2 {
	rockchip,plane-mask = <(1 << ROCKCHIP_VOP2_CLUSTER2 | 1 << ROCKCHIP_VOP2_ESMART2)>;
	rockchip,primary-plane = <ROCKCHIP_VOP2_ESMART2>;
};

&vp3 {
	rockchip,plane-mask = <(1 << ROCKCHIP_VOP2_CLUSTER3 | 1 << ROCKCHIP_VOP2_ESMART3)>;
	rockchip,primary-plane = <ROCKCHIP_VOP2_ESMART3>;
};
